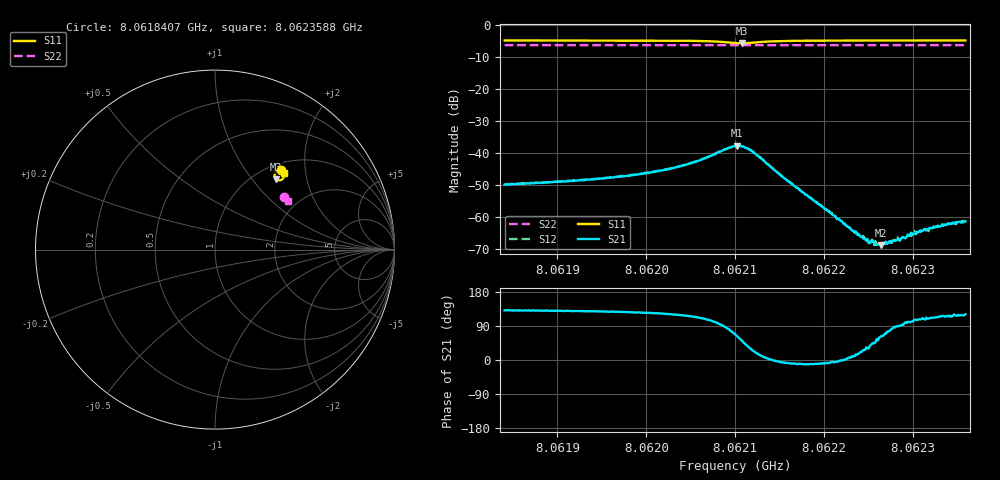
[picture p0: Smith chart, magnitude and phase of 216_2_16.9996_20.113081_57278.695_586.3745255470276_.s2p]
#  HZ  S  RI  R  50.00
! Rohde & Schwarz Vector Network Analyzer
! Rohde-Schwarz,ZNB20-2Port,1311601062101988,3.16
! Created: UTC 3/20/2024, 11:01:46 PM
! freq[Hz]  re:S11  im:S11  re:S21  im:S21  re:S12  im:S12  re:S22  im:S22
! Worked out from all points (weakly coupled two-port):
!   401 points, 8.0618407 GHz to 8.0623588 GHz, reference 50 ohm
!   highest |S21| = -37.76 dB at 8.0621024 GHz (marker M1); lowest = -68.8 dB at 8.0622642 GHz (marker M2)
!   lowest |S11| = -5.7 dB at 8.0621075 GHz (marker M3), VSWR 3.17, Z = 61.9 + j66.7 ohm
!   |S11| at or under -10 dB: nowhere
!   |S22| runs from -6.3 to -6.3 dB; largest |S21 - S12| = 0.001
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8.06184073e9  0.3662 0.4442  -0.00209 0.00241  -0.00199 0.00253  0.3871 0.2952
8.06192751e9  0.3728 0.4383  -0.00237 0.00292  -0.00221 0.00308  0.3901 0.2911
8.0619819e9  0.3775 0.433  -0.00262 0.00357  -0.00241 0.00376  0.392 0.2881
8.06201428e9  0.3808 0.4281  -0.00285 0.00438  -0.0026 0.0046  0.3932 0.2863
8.06205443e9  0.3849 0.4165  -0.00292 0.0066  -0.00254 0.00683  0.3943 0.2839
8.06208163e9  0.3803 0.3977  -0.000917 0.0103  -0.000459 0.0105  0.3949 0.2819
8.06209976e9  0.3558 0.3863  0.00479 0.012  0.00552 0.0116  0.3941 0.2809
8.06210235e9  0.3505 0.3873  0.00594 0.0115  0.00683 0.011  0.3938 0.2809
8.06210753e9  0.3407 0.3928  0.00809 0.00985  0.00874 0.00938  0.3939 0.2812
8.0621153e9  0.3323 0.407  0.00952 0.00628  0.00989 0.00575  0.3938 0.2817
8.06212178e9  0.3324 0.4186  0.0092 0.00368  0.00941 0.00325  0.3943 0.2819
8.06215675e9  0.3554 0.4394  0.00385 -0.000544  0.00386 -0.000739  0.3969 0.2807
8.06218654e9  0.3662 0.4386  0.00184 -0.000359  0.00185 -0.000477  0.398 0.2792
8.06224871e9  0.3767 0.4342  0.000385 0.000234  0.000362 0.000173  0.4005 0.2759
8.06225777e9  0.3777 0.4335  0.000245 0.000266  0.000289 0.000298  0.4008 0.2754
8.06226425e9  0.3784 0.4331  0.000163 0.000322  0.000195 0.000328  0.401 0.2751
8.06227331e9  0.3792 0.4324  9.89e-05 0.000402  0.000111 0.000388  0.4013 0.2746
8.0623031e9  0.3821 0.4307  -0.000147 0.000512  -0.000125 0.000558  0.4023 0.2731
8.06231476e9  0.383 0.4298  -0.000227 0.000571  -0.000181 0.000595  0.4026 0.2725
8.06232123e9  0.3834 0.4294  -0.000242 0.000612  -0.000195 0.000642  0.4029 0.2722
8.06235102e9  0.3859 0.4276  -0.000403 0.000723  -0.000345 0.000751  0.4038 0.2705
8.06235879e9  0.3863 0.4271  -0.000432 0.000728  -0.000388 0.000764  0.404 0.2702
